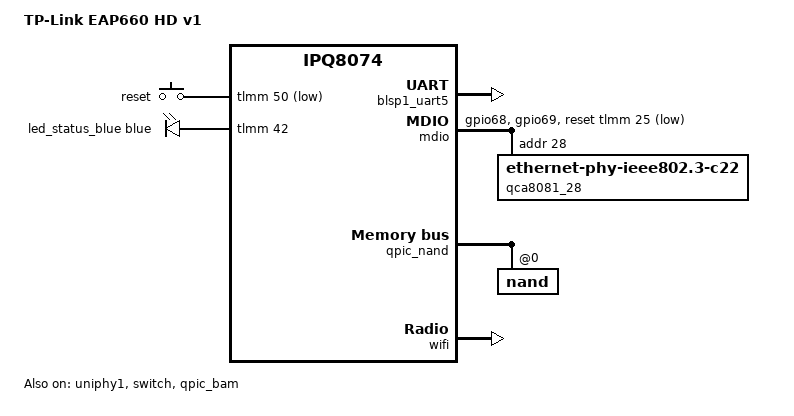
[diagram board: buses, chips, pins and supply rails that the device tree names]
// SPDX-License-Identifier: GPL-2.0-or-later OR BSD-2-Clause

/dts-v1/;

#include "ipq8074.dtsi"
#include "ipq8074-hk-cpu.dtsi"
#include "ipq8074-ess.dtsi"
#include <dt-bindings/leds/common.h>
#include <dt-bindings/input/input.h>
#include <dt-bindings/gpio/gpio.h>

/ {
	model = "TP-Link EAP660 HD v1";
	compatible = "tplink,eap660hd-v1", "qcom,ipq8074";

	aliases {
		serial0 = &blsp1_uart5;
		led-boot = &led_status_blue;
		led-failsafe = &led_status_blue;
		led-running = &led_status_blue;
		led-upgrade = &led_status_blue;
	};

	chosen {
		stdout-path = "serial0,115200n8";
		bootargs-append = " root=/dev/ubiblock0_1";
	};

	keys {
		compatible = "gpio-keys";

		reset {
			label = "reset";
			gpios = <&tlmm 50 GPIO_ACTIVE_LOW>;
			linux,code = <KEY_RESTART>;
		};
	};

	leds {
		compatible = "gpio-leds";

		led_status_blue: status-blue {
			function = LED_FUNCTION_STATUS;
			gpios = <&tlmm 42 GPIO_ACTIVE_HIGH>;
			color = <LED_COLOR_ID_BLUE>;
		};
	};
};

&blsp1_uart5 {
	status = "okay";
};

&tlmm {
	mdio_pins: mdio-pins {
		mdc {
			pins = "gpio68";
			function = "mdc";
			drive-strength = <8>;
			bias-pull-up;
		};

		mdio {
			pins = "gpio69";
			function = "mdio";
			drive-strength = <8>;
			bias-pull-up;
		};
	};
};

&mdio {
	status = "okay";
	pinctrl-0 = <&mdio_pins>;
	pinctrl-names = "default";
	reset-gpios = <&tlmm 25 GPIO_ACTIVE_LOW>;

	qca8081_28: ethernet-phy@28 {
		compatible = "ethernet-phy-ieee802.3-c22";
		reg = <28>;
	};
};

&uniphy1 {
	status = "okay";
};

&switch {
	status = "okay";

	ports {
		#address-cells = <1>;
		#size-cells = <0>;

		port@0 {
			reg = <0>;
			ethernet = <&edma>;
			phy-mode = "internal";

			fixed-link {
				speed = <1000>;
				full-duplex;
			};
		};

		swport5: port@5 {
			reg = <5>;
			label = "lan";
			phy-handle = <&qca8081_28>;
			phy-mode = "2500base-x";
			pcs-handle = <&uniphy1 0>;
		};
	};
};

&edma {
	status = "okay";
};

&qpic_bam {
	status = "okay";
};

&qpic_nand {
	status = "okay";

	nand@0 {
		reg = <0>;
		nand-ecc-strength = <4>;
		nand-ecc-step-size = <512>;
		nand-bus-width = <8>;

		partitions {
			compatible = "qcom,smem-part";
		};
	};
};

&wifi {
	status = "okay";
	qcom,ath11k-calibration-variant = "TP-Link-EAP660-HD-v1";
};
